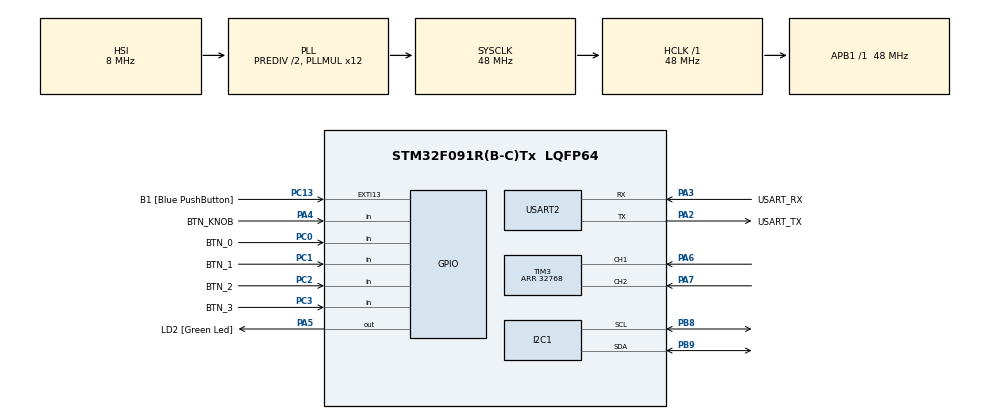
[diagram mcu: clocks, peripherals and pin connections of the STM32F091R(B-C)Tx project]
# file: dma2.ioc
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Dma.Request0=USART2_TX
Dma.Request1=USART2_RX
Dma.USART2_RX.1.Direction=DMA_PERIPH_TO_MEMORY
Dma.USART2_RX.1.Instance=DMA1_Channel3
Dma.USART2_RX.1.MemDataAlignment=DMA_MDATAALIGN_BYTE
Dma.USART2_RX.1.MemInc=DMA_MINC_ENABLE
Dma.USART2_RX.1.Mode=DMA_NORMAL
Dma.USART2_RX.1.PeriphDataAlignment=DMA_PDATAALIGN_BYTE
Dma.USART2_RX.1.PeriphInc=DMA_PINC_DISABLE
Dma.USART2_RX.1.Priority=DMA_PRIORITY_MEDIUM
Dma.USART2_TX.0.Direction=DMA_MEMORY_TO_PERIPH
Dma.USART2_TX.0.Instance=DMA1_Channel2
Dma.USART2_TX.0.MemDataAlignment=DMA_MDATAALIGN_BYTE
Dma.USART2_TX.0.MemInc=DMA_MINC_ENABLE
Dma.USART2_TX.0.Mode=DMA_NORMAL
Dma.USART2_TX.0.PeriphDataAlignment=DMA_PDATAALIGN_BYTE
Dma.USART2_TX.0.PeriphInc=DMA_PINC_DISABLE
Dma.USART2_TX.0.Priority=DMA_PRIORITY_LOW
I2C1.Timing=0x00201D2B
Mcu.Family=STM32F0
Mcu.Name=STM32F091R(B-C)Tx
Mcu.Package=LQFP64
NVIC.DMA1_Ch2_3_DMA2_Ch1_2_IRQn=true\:0\:0\:false\:false\:true\:false\:true\:true
NVIC.I2C1_IRQn=true\:0\:0\:false\:false\:true\:true\:true\:true
NVIC.USART2_IRQn=true\:0\:0\:false\:false\:true\:true\:true\:true
PA13.GPIO_Label=TMS
PA13.Mode=Serial_Wire
PA13.Signal=SYS_SWDIO
PA14.GPIO_Label=TCK
PA14.Mode=Serial_Wire
PA14.Signal=SYS_SWCLK
PA2.GPIO_Label=USART_TX
PA2.GPIO_Mode=GPIO_MODE_AF_PP
PA2.GPIO_PuPd=GPIO_NOPULL
PA2.GPIO_Speed=GPIO_SPEED_FREQ_LOW
PA2.Mode=Asynchronous
PA2.Signal=USART2_TX
PA3.GPIO_Label=USART_RX
PA3.GPIO_Mode=GPIO_MODE_AF_PP
PA3.GPIO_PuPd=GPIO_NOPULL
PA3.GPIO_Speed=GPIO_SPEED_FREQ_LOW
PA3.Mode=Asynchronous
PA3.Signal=USART2_RX
PA4.GPIO_Label=BTN_KNOB
PA4.GPIO_PuPd=GPIO_PULLUP
PA4.Signal=GPIO_Input
PA5.GPIO_Label=LD2 [Green Led]
PA5.GPIO_Mode=GPIO_MODE_OUTPUT_PP
PA5.GPIO_PuPd=GPIO_NOPULL
PA5.GPIO_Speed=GPIO_SPEED_FREQ_LOW
PA5.Signal=GPIO_Output
PA6.Signal=S_TIM3_CH1
PA7.Signal=S_TIM3_CH2
PB8.Mode=I2C
PB8.Signal=I2C1_SCL
PB9.Mode=I2C
PB9.Signal=I2C1_SDA
PC0.GPIO_Label=BTN_0
PC0.GPIO_PuPd=GPIO_PULLUP
PC0.Signal=GPIO_Input
PC1.GPIO_Label=BTN_1
PC1.GPIO_PuPd=GPIO_PULLUP
PC1.Signal=GPIO_Input
PC13.GPIO_Label=B1 [Blue PushButton]
PC13.GPIO_ModeDefaultEXTI=GPIO_MODE_IT_FALLING
PC13.Signal=GPXTI13
PC14OSC32_IN.Mode=LSE-External-Oscillator
PC14OSC32_IN.Signal=RCC_OSC32_IN
PC15OSC32_OUT.Mode=LSE-External-Oscillator
PC15OSC32_OUT.Signal=RCC_OSC32_OUT
PC2.GPIO_Label=BTN_2
PC2.GPIO_PuPd=GPIO_PULLUP
PC2.Signal=GPIO_Input
PC3.GPIO_Label=BTN_3
PC3.GPIO_PuPd=GPIO_PULLUP
PC3.Signal=GPIO_Input
PF0-OSC_IN.Mode=HSE-External-Clock-Source
PF0-OSC_IN.Signal=RCC_OSC_IN
PF1-OSC_OUT.Signal=RCC_OSC_OUT
ProjectManager.HeapSize=0x200
ProjectManager.StackSize=0x400
ProjectManager.TargetToolchain=STM32CubeIDE
RCC.AHBFreq_Value=48000000
RCC.APB1Freq_Value=48000000
RCC.APB1TimFreq_Value=48000000
RCC.FLatency-AdvancedSettings=FLASH_LATENCY_1
RCC.HCLKFreq_Value=48000000
RCC.PLLDivider=RCC_PREDIV_DIV2
RCC.PLLMUL=RCC_PLL_MUL12
RCC.PREFETCH_ENABLE-AdvancedSettings=1
RCC.SYSCLKFreq_VALUE=48000000
RCC.SYSCLKSource=RCC_SYSCLKSOURCE_PLLCLK
SH.S_TIM3_CH1.0=TIM3_CH1,Encoder_Interface
SH.S_TIM3_CH2.0=TIM3_CH2,Encoder_Interface
TIM3.EncoderMode=TIM_ENCODERMODE_TI12
TIM3.Period=32768
USART2.VirtualMode=VM_ASYNC
USART2.VirtualMode-Asynchronous=VM_ASYNC
board=NUCLEO-F091RC

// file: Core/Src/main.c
/* USER CODE BEGIN Header */
/**
  ******************************************************************************
  * @file           : main.c
  * @brief          : Main program body
  ******************************************************************************
  * @attention
  *
  * Copyright (c) 2025 STMicroelectronics.
  * All rights reserved.
  *
  * This software is licensed under terms that can be found in the LICENSE file
  * in the root directory of this software component.
  * If no LICENSE file comes with this software, it is provided AS-IS.
  *
  ******************************************************************************
  */
/* USER CODE END Header */
#include "main.h"

/* USER CODE BEGIN Includes */
#include "ssd1306.h"
#include <string.h>
#include <stdio.h>
/* USER CODE END Includes */

I2C_HandleTypeDef hi2c1;

TIM_HandleTypeDef htim3;

UART_HandleTypeDef huart2;
DMA_HandleTypeDef hdma_usart2_tx;
DMA_HandleTypeDef hdma_usart2_rx;

/* USER CODE BEGIN PV */
// UART RX buffer for 3-byte command frames from PC
// Frame format: [START=0x88, COMMAND, CHECKSUM]
uint8_t uart_rx_buffer[3];
/* USER CODE END PV */

void SystemClock_Config(void);
static void MX_GPIO_Init(void);
static void MX_DMA_Init(void);
static void MX_USART2_UART_Init(void);
static void MX_I2C1_Init(void);
static void MX_TIM3_Init(void);

/* USER CODE BEGIN 0 */
typedef struct {
    // Hardware configuration
    // ----------------------
    uint16_t pin;                 // GPIO pin number (e.g., GPIO_PIN_1)
    GPIO_TypeDef* port;           // GPIO port (e.g., GPIOA, GPIOB)

    // Protocol configuration
    // ----------------------
    uint8_t cmd_press;            // Command ID for button press (e.g., 0x40)

    // Runtime state
    // -------------
    uint32_t last_press_time;     // Timestamp of last press (for debouncing)
    uint8_t pressed;             // Current pressed state (for edge detection)

    // DMA buffer
    // ----------
    // CRITICAL: Each button MUST have its own buffer to prevent DMA race conditions
    uint8_t tx_buffer[4];         // Dedicated UART transmit buffer
} Button_t;

#define PROTO_START         0xAA
#define CMD_BTN_AP_TOGGLE   0x50
#define CMD_BTN_HDG_TOGGLE  0x51
#define CMD_BTN_VS_TOGGLE   0x52
#define CMD_BTN_ALT_TOGGLE  0x53

// PC -> STM32 commands (3-byte format: [START=0x88, COMMAND, CHECKSUM])
#define CMD_AP_ENGAGE       0x60  // Engage autopilot
#define CMD_AP_DISENGAGE    0x61  // Disengage autopilot
#define CMD_HDG_MODE_ON     0x62  // Activate HDG mode
#define CMD_HDG_MODE_OFF    0x63  // Deactivate HDG mode
#define CMD_ALT_MODE_ON     0x64  // Activate ALT mode
#define CMD_ALT_MODE_OFF    0x65  // Deactivate ALT mode
#define CMD_VS_MODE_ON      0x66  // Activate VS mode
#define CMD_VS_MODE_OFF     0x67  // Deactivate VS mode

// Encoder mode-specific commands
#define CMD_HDG_SET         0x11
#define CMD_ALT_SET         0x21
#define CMD_VS_SET          0x31

// Encoder modes
#define ENC_MODE_HDG        0x00
#define ENC_MODE_ALT        0x01
#define ENC_MODE_VS         0x02

// AP status bitfield (operand for CMD_SET_AP_STATUS)
// Bit 0: AP engaged (1=engaged, 0=disengaged)
// Bit 1: HDG mode active
// Bit 2: ALT mode active
// Bit 3: VS mode active
// Bits 4-7: Reserved
#define AP_STATUS_ENGAGED   (1 << 0)
#define AP_STATUS_HDG_ACTIVE (1 << 1)
#define AP_STATUS_ALT_ACTIVE (1 << 2)
#define AP_STATUS_VS_ACTIVE  (1 << 3)

#define COUNT_BUTTONS 4
#define BUTTON_DEBOUNCE_MS 200   // Button debounce time (ms)

static Button_t standalone_buttons[COUNT_BUTTONS] = {
    {BTN_0_Pin,  BTN_0_GPIO_Port, CMD_BTN_AP_TOGGLE,  0, 0, {0}},  // AP button (PC0)
    {BTN_1_Pin,  BTN_1_GPIO_Port, CMD_BTN_HDG_TOGGLE, 0, 0, {0}},  // HDG button (PC1)
    {BTN_2_Pin,  BTN_2_GPIO_Port, CMD_BTN_VS_TOGGLE,  0, 0, {0}},  // VS button (PC2)
    {BTN_3_Pin,  BTN_3_GPIO_Port, CMD_BTN_ALT_TOGGLE, 0, 0, {0}}   // ALT button (PC3)
};

// Rotary Encoder Structure
typedef struct {
    // Hardware configuration
    TIM_HandleTypeDef* htim;      // Timer handle for encoder
    GPIO_TypeDef* btn_port;       // Push button port
    uint16_t btn_pin;             // Push button pin

    // Encoder state
    uint8_t mode;                 // Current mode: 0=HDG, 1=ALT, 2=VS
    uint32_t last_tx_time;        // Last transmission time (for throttling)
    uint32_t last_btn_time;       // Last button press time (for debouncing)

    // DMA buffer for UART transmission
    uint8_t tx_buffer[4];         // Dedicated UART transmit buffer
} RotaryEncoder_t;

#define ENCODER_TX_THROTTLE_MS  50    // Minimum time between encoder transmissions (ms)
#define ENCODER_BTN_DEBOUNCE_MS 200   // Button debounce time (ms)
#define ENCODER_CENTER          16384 // Center position (Period/2 = 32768/2)
#define ENCODER_COUNTS_PER_DETENT 4   // TI12 mode gives 4 counts per mechanical click

static RotaryEncoder_t rotary_encoder = {
    .htim = &htim3,
    .btn_port = BTN_KNOB_GPIO_Port,
    .btn_pin = BTN_KNOB_Pin,
    .mode = ENC_MODE_HDG,         // Start in HDG mode
    .last_tx_time = 0,
    .last_btn_time = 0,
    .tx_buffer = {0}
};

// Autopilot status state
static uint8_t ap_status = 0;  // Bitfield: engaged + active modes

void SendButtonCommand(Button_t* btn, uint8_t cmd, uint8_t operand)
{
    uint8_t* txBuffer = btn->tx_buffer;

    txBuffer[0] = PROTO_START;
    txBuffer[1] = cmd;
    txBuffer[2] = operand;
    txBuffer[3] = PROTO_START ^ cmd ^ operand;

    HAL_UART_Transmit_DMA(&huart2, txBuffer, 4);  // ← DMA transfer
}

/**
 * @brief Send encoder command via UART
 * @param enc: Pointer to encoder structure
 * @param cmd: Command byte (e.g., CMD_HDG_SET, CMD_ALT_SET, CMD_VS_SET, CMD_ENC_MODE)
 * @param operand: Command operand (delta or mode)
 */
void SendEncoderCommand(RotaryEncoder_t* enc, uint8_t cmd, uint8_t operand)
{
    uint8_t* txBuffer = enc->tx_buffer;

    txBuffer[0] = PROTO_START;
    txBuffer[1] = cmd;
    txBuffer[2] = operand;
    txBuffer[3] = PROTO_START ^ cmd ^ operand;

    HAL_UART_Transmit_DMA(&huart2, txBuffer, 4);
    enc->last_tx_time = HAL_GetTick();  // Update throttle timer
}

/**
 * @brief Get mode name as string for display
 * @param mode: Encoder mode (0=HDG, 1=ALT, 2=VS)
 * @return: Mode name string
 */
const char* GetModeName(uint8_t mode)
{
    switch(mode) {
        case ENC_MODE_HDG: return "HDG";
        case ENC_MODE_ALT: return "ALT";
        case ENC_MODE_VS:  return "VS";
        default:           return "???";
    }
}

/**
 * @brief Cycle encoder mode
 * @param enc: Pointer to encoder structure
 * @note Display update is handled by Display_UpdateAPStatus which always shows encoder mode
 */
void CycleEncoderMode(RotaryEncoder_t* enc)
{
    // Cycle through modes: HDG -> ALT -> VS -> HDG
    enc->mode = (enc->mode + 1) % 3;

    // Update display to show new encoder mode
    Display_UpdateAPStatus(ap_status);
}

//void HAL_GPIO_EXTI_Callback(uint16_t GPIO_Pin)
//
//{
//
//  if (GPIO_Pin == BTN_0_Pin) {
//	  SendButtonCommand(&standalone_buttons[0], 0x40, 0x00);
//  }
//
//}

/**
  * @brief Update OLED display with received command information
  * @param command: Received command byte
  * @note This function is no longer used - AP status display handles all updates
  */
void Display_UpdateCommand(uint8_t command)
{
    // Function kept for compatibility but no longer updates display
    // Display is now managed by Display_UpdateAPStatus which shows encoder mode
    (void)command;  // Suppress unused parameter warning
}

/**
  * @brief Update OLED display with autopilot status (fixed-position layout)
  * @param status: AP status bitfield
  *
  * Display layout (always shown):
  * Line 0: "AP:ON " or "AP:OFF" (engagement status)
  * Line 1: "HDG|ALT|VS " (mode indicators, active modes shown, inactive as "---")
  * Line 2: (empty)
  * Line 3: "        ENC:HDG" (right-aligned encoder mode)
  *
  * Mode indicators show active state regardless of AP engagement:
  * - Active mode: "HDG", "ALT", or "VS "
  * - Inactive mode: "---"
  */
void Display_UpdateAPStatus(uint8_t status)
{
    SSD1306_Clear();

    // Line 0: "AP" indicator - show engagement status
    SSD1306_SetCursor(0, 0);
    if (status & AP_STATUS_ENGAGED) {
        SSD1306_Puts("AP:ON ");
    } else {
        SSD1306_Puts("AP:OFF");
    }

    // Line 1: Mode indicators at fixed positions (always shown)
    SSD1306_SetCursor(0, 1);

    // HDG indicator (positions 0-2)
    SSD1306_Puts((status & AP_STATUS_HDG_ACTIVE) ? "HDG" : "---");

    // Separator
    SSD1306_Puts("|");

    // ALT indicator (positions 4-6)
    SSD1306_Puts((status & AP_STATUS_ALT_ACTIVE) ? "ALT" : "---");

    // Separator
    SSD1306_Puts("|");

    // VS indicator (positions 8-10)
    SSD1306_Puts((status & AP_STATUS_VS_ACTIVE) ? "VS " : "-- ");

    // Line 3: Encoder mode (always shown, bottom right)
    // Display is 128px wide, 6px per char = ~21 chars
    // "ENC:HDG" = 7 chars, so start at position 14 to right-align
    SSD1306_SetCursor(84, 3);  // 84px = 14 chars * 6px
    SSD1306_Puts("ENC:");
    SSD1306_Puts(GetModeName(rotary_encoder.mode));

    SSD1306_UpdateScreen();
}

/* USER CODE END 0 */

int main(void)
{

  /* MCU Configuration--------------------------------------------------------*/

  /* Reset of all peripherals, Initializes the Flash interface and the Systick. */
  HAL_Init();

  /* Configure the system clock */
  SystemClock_Config();

  /* Initialize all configured peripherals */
  MX_GPIO_Init();
  MX_DMA_Init();
  MX_USART2_UART_Init();
  MX_I2C1_Init();
  MX_TIM3_Init();
  /* USER CODE BEGIN 2 */
  // Initialize SSD1306 OLED Display
  SSD1306_Init(&hi2c1);

  // Show initial display with encoder mode
  Display_UpdateAPStatus(ap_status);

  // Start DMA reception for 3-byte command frames from PC
  HAL_UART_Receive_DMA(&huart2, uart_rx_buffer, 3);

  // Start TIM3 in Encoder Mode
  HAL_TIM_Encoder_Start(&htim3, TIM_CHANNEL_ALL);

  // Set encoder to center position to establish reference point
  __HAL_TIM_SET_COUNTER(&htim3, ENCODER_CENTER);

  /* USER CODE END 2 */

  /* Infinite loop */
  while (1)
  {

    /* USER CODE BEGIN 3 */

	  for(int i =0; i< COUNT_BUTTONS; i++)
	  {
	   GPIO_PinState current_state = HAL_GPIO_ReadPin(standalone_buttons[i].port, standalone_buttons[i].pin);
	   uint8_t is_pressed = (current_state == GPIO_PIN_RESET);

	   // Detect falling edge (button press) with debouncing
	   if (is_pressed && !standalone_buttons[i].pressed)
	   {
	    uint32_t current_time = HAL_GetTick();
	    // Debounce: only process if enough time has passed since last press
	    if ((current_time - standalone_buttons[i].last_press_time) > BUTTON_DEBOUNCE_MS)
	    {
	  	  SendButtonCommand(&standalone_buttons[i], standalone_buttons[i].cmd_press, 0x00);
	  	  standalone_buttons[i].last_press_time = current_time;
	    }
	   }

	   // Update pressed state for edge detection
	   standalone_buttons[i].pressed = is_pressed;
	  }

	  // --- Rotary Encoder Handling ---

	  // Handle encoder button (mode toggle)
	  GPIO_PinState btn_knob_state = HAL_GPIO_ReadPin(rotary_encoder.btn_port, rotary_encoder.btn_pin);
	  if (btn_knob_state == GPIO_PIN_RESET)
	  {
		  uint32_t current_time = HAL_GetTick();
		  // Debounce: only process if enough time has passed since last press
		  if ((current_time - rotary_encoder.last_btn_time) > ENCODER_BTN_DEBOUNCE_MS)
		  {
			  CycleEncoderMode(&rotary_encoder);
			  rotary_encoder.last_btn_time = current_time;
		  }
	  }

	  // Handle encoder rotation (read delta and send command)
	  int32_t current_count = __HAL_TIM_GET_COUNTER(&htim3);
	  // Always calculate delta from center position to prevent drift
	  int32_t delta = current_count - ENCODER_CENTER;

	  // Calculate full mechanical detents (4 counts = 1 click)
	  // This filters out transitions between detent positions
	  int32_t detents = delta / ENCODER_COUNTS_PER_DETENT;

	  if (detents != 0)
	  {
		  uint32_t current_time = HAL_GetTick();
		  // Throttle: only send if enough time has passed since last transmission
		  if ((current_time - rotary_encoder.last_tx_time) >= ENCODER_TX_THROTTLE_MS)
		  {
			  // Clamp detents to int8_t range (-128 to +127)
			  if (detents > 127) detents = 127;
			  if (detents < -128) detents = -128;

			  // Select command based on current mode
			  uint8_t cmd = CMD_HDG_SET;  // Default
			  switch (rotary_encoder.mode)
			  {
				  case ENC_MODE_HDG:
					  cmd = CMD_HDG_SET;
					  break;
				  case ENC_MODE_ALT:
					  cmd = CMD_ALT_SET;
					  break;
				  case ENC_MODE_VS:
					  cmd = CMD_VS_SET;
					  break;
			  }

			  // Send encoder delta command (number of clicks)
			  SendEncoderCommand(&rotary_encoder, cmd, (uint8_t)((int8_t)detents));

			  // Reset counter to center + remainder to preserve partial clicks
			  // Example: if delta=7, we send 1 click, remainder is 3 counts
			  int32_t remainder = delta % ENCODER_COUNTS_PER_DETENT;
			  __HAL_TIM_SET_COUNTER(&htim3, ENCODER_CENTER + remainder);
		  }
	  }

//	  GPIO_PinState btn0_state = HAL_GPIO_ReadPin(BTN_0_GPIO_Port, BTN_0_Pin);
//	  if(btn0_state == GPIO_PIN_RESET)
//	  {
//		  SendButtonCommand(&standalone_buttons[0], 0x40, 0x00);
//	  }
//
//	  GPIO_PinState btn1_state = HAL_GPIO_ReadPin(BTN_1_GPIO_Port, BTN_1_Pin);
//	  if(btn1_state == GPIO_PIN_RESET)
//	  {
//		  SendButtonCommand(&standalone_buttons[1], 0x41, 0x00);
//	  }
  }
  /* USER CODE END 3 */
}

void SystemClock_Config(void)
{
  RCC_OscInitTypeDef RCC_OscInitStruct = {0};
  RCC_ClkInitTypeDef RCC_ClkInitStruct = {0};
  RCC_PeriphCLKInitTypeDef PeriphClkInit = {0};

  /** Initializes the RCC Oscillators according to the specified parameters
  * in the RCC_OscInitTypeDef structure.
  */
  RCC_OscInitStruct.OscillatorType = RCC_OSCILLATORTYPE_HSI;
  RCC_OscInitStruct.HSIState = RCC_HSI_ON;
  RCC_OscInitStruct.HSICalibrationValue = RCC_HSICALIBRATION_DEFAULT;
  RCC_OscInitStruct.PLL.PLLState = RCC_PLL_ON;
  RCC_OscInitStruct.PLL.PLLSource = RCC_PLLSOURCE_HSI;
  RCC_OscInitStruct.PLL.PLLMUL = RCC_PLL_MUL12;
  RCC_OscInitStruct.PLL.PREDIV = RCC_PREDIV_DIV2;
  if (HAL_RCC_OscConfig(&RCC_OscInitStruct) != HAL_OK)
  {
    Error_Handler();
  }

  /** Initializes the CPU, AHB and APB buses clocks
  */
  RCC_ClkInitStruct.ClockType = RCC_CLOCKTYPE_HCLK|RCC_CLOCKTYPE_SYSCLK
                              |RCC_CLOCKTYPE_PCLK1;
  RCC_ClkInitStruct.SYSCLKSource = RCC_SYSCLKSOURCE_PLLCLK;
  RCC_ClkInitStruct.AHBCLKDivider = RCC_SYSCLK_DIV1;
  RCC_ClkInitStruct.APB1CLKDivider = RCC_HCLK_DIV1;

  if (HAL_RCC_ClockConfig(&RCC_ClkInitStruct, FLASH_LATENCY_1) != HAL_OK)
  {
    Error_Handler();
  }
  PeriphClkInit.PeriphClockSelection = RCC_PERIPHCLK_USART2|RCC_PERIPHCLK_I2C1;
  PeriphClkInit.Usart2ClockSelection = RCC_USART2CLKSOURCE_PCLK1;
  PeriphClkInit.I2c1ClockSelection = RCC_I2C1CLKSOURCE_HSI;
  if (HAL_RCCEx_PeriphCLKConfig(&PeriphClkInit) != HAL_OK)
  {
    Error_Handler();
  }
}

static void MX_I2C1_Init(void)
{

  hi2c1.Instance = I2C1;
  hi2c1.Init.Timing = 0x00201D2B;
  hi2c1.Init.OwnAddress1 = 0;
  hi2c1.Init.AddressingMode = I2C_ADDRESSINGMODE_7BIT;
  hi2c1.Init.DualAddressMode = I2C_DUALADDRESS_DISABLE;
  hi2c1.Init.OwnAddress2 = 0;
  hi2c1.Init.OwnAddress2Masks = I2C_OA2_NOMASK;
  hi2c1.Init.GeneralCallMode = I2C_GENERALCALL_DISABLE;
  hi2c1.Init.NoStretchMode = I2C_NOSTRETCH_DISABLE;
  if (HAL_I2C_Init(&hi2c1) != HAL_OK)
  {
    Error_Handler();
  }

  /** Configure Analogue filter
  */
  if (HAL_I2CEx_ConfigAnalogFilter(&hi2c1, I2C_ANALOGFILTER_ENABLE) != HAL_OK)
  {
    Error_Handler();
  }

  /** Configure Digital filter
  */
  if (HAL_I2CEx_ConfigDigitalFilter(&hi2c1, 0) != HAL_OK)
  {
    Error_Handler();
  }

}

static void MX_TIM3_Init(void)
{

  TIM_Encoder_InitTypeDef sConfig = {0};
  TIM_MasterConfigTypeDef sMasterConfig = {0};

  htim3.Instance = TIM3;
  htim3.Init.Prescaler = 0;
  htim3.Init.CounterMode = TIM_COUNTERMODE_UP;
  htim3.Init.Period = 32768;
  htim3.Init.ClockDivision = TIM_CLOCKDIVISION_DIV1;
  htim3.Init.AutoReloadPreload = TIM_AUTORELOAD_PRELOAD_DISABLE;
  sConfig.EncoderMode = TIM_ENCODERMODE_TI12;
  sConfig.IC1Polarity = TIM_ICPOLARITY_RISING;
  sConfig.IC1Selection = TIM_ICSELECTION_DIRECTTI;
  sConfig.IC1Prescaler = TIM_ICPSC_DIV1;
  sConfig.IC1Filter = 0;
  sConfig.IC2Polarity = TIM_ICPOLARITY_RISING;
  sConfig.IC2Selection = TIM_ICSELECTION_DIRECTTI;
  sConfig.IC2Prescaler = TIM_ICPSC_DIV1;
  sConfig.IC2Filter = 0;
  if (HAL_TIM_Encoder_Init(&htim3, &sConfig) != HAL_OK)
  {
    Error_Handler();
  }
  sMasterConfig.MasterOutputTrigger = TIM_TRGO_RESET;
  sMasterConfig.MasterSlaveMode = TIM_MASTERSLAVEMODE_DISABLE;
  if (HAL_TIMEx_MasterConfigSynchronization(&htim3, &sMasterConfig) != HAL_OK)
  {
    Error_Handler();
  }

}

static void MX_USART2_UART_Init(void)
{

  huart2.Instance = USART2;
  huart2.Init.BaudRate = 115200;
  huart2.Init.WordLength = UART_WORDLENGTH_8B;
  huart2.Init.StopBits = UART_STOPBITS_1;
  huart2.Init.Parity = UART_PARITY_NONE;
  huart2.Init.Mode = UART_MODE_TX_RX;
  huart2.Init.HwFlowCtl = UART_HWCONTROL_NONE;
  huart2.Init.OverSampling = UART_OVERSAMPLING_16;
  huart2.Init.OneBitSampling = UART_ONE_BIT_SAMPLE_DISABLE;
  huart2.AdvancedInit.AdvFeatureInit = UART_ADVFEATURE_NO_INIT;
  if (HAL_UART_Init(&huart2) != HAL_OK)
  {
    Error_Handler();
  }

}

static void MX_DMA_Init(void)
{

  /* DMA controller clock enable */
  __HAL_RCC_DMA1_CLK_ENABLE();

  /* DMA interrupt init */
  /* DMA1_Ch2_3_DMA2_Ch1_2_IRQn interrupt configuration */
  HAL_NVIC_SetPriority(DMA1_Ch2_3_DMA2_Ch1_2_IRQn, 0, 0);
  HAL_NVIC_EnableIRQ(DMA1_Ch2_3_DMA2_Ch1_2_IRQn);

}

static void MX_GPIO_Init(void)
{
  GPIO_InitTypeDef GPIO_InitStruct = {0};

  /* GPIO Ports Clock Enable */
  __HAL_RCC_GPIOC_CLK_ENABLE();
  __HAL_RCC_GPIOF_CLK_ENABLE();
  __HAL_RCC_GPIOA_CLK_ENABLE();
  __HAL_RCC_GPIOB_CLK_ENABLE();

  /*Configure GPIO pin Output Level */
  HAL_GPIO_WritePin(LD2_GPIO_Port, LD2_Pin, GPIO_PIN_RESET);

  /*Configure GPIO pin : B1_Pin */
  GPIO_InitStruct.Pin = B1_Pin;
  GPIO_InitStruct.Mode = GPIO_MODE_IT_FALLING;
  GPIO_InitStruct.Pull = GPIO_NOPULL;
  HAL_GPIO_Init(B1_GPIO_Port, &GPIO_InitStruct);

  /*Configure GPIO pins : BTN_0_Pin BTN_1_Pin BTN_2_Pin BTN_3_Pin */
  GPIO_InitStruct.Pin = BTN_0_Pin|BTN_1_Pin|BTN_2_Pin|BTN_3_Pin;
  GPIO_InitStruct.Mode = GPIO_MODE_INPUT;
  GPIO_InitStruct.Pull = GPIO_PULLUP;
  HAL_GPIO_Init(GPIOC, &GPIO_InitStruct);

  /*Configure GPIO pin : BTN_KNOB_Pin */
  GPIO_InitStruct.Pin = BTN_KNOB_Pin;
  GPIO_InitStruct.Mode = GPIO_MODE_INPUT;
  GPIO_InitStruct.Pull = GPIO_PULLUP;
  HAL_GPIO_Init(BTN_KNOB_GPIO_Port, &GPIO_InitStruct);

  /*Configure GPIO pin : LD2_Pin */
  GPIO_InitStruct.Pin = LD2_Pin;
  GPIO_InitStruct.Mode = GPIO_MODE_OUTPUT_PP;
  GPIO_InitStruct.Pull = GPIO_NOPULL;
  GPIO_InitStruct.Speed = GPIO_SPEED_FREQ_LOW;
  HAL_GPIO_Init(LD2_GPIO_Port, &GPIO_InitStruct);

}

/* USER CODE BEGIN 4 */
/**
 * @brief UART RX Complete Callback
 * @note  Called when DMA has received a complete 3-byte frame
 *        Frame format: [START=0x88, COMMAND, CHECKSUM]
 *        Commands: 0x10=LED ON, 0x11=LED OFF
 */
void HAL_UART_RxCpltCallback(UART_HandleTypeDef *huart)
{
  if (huart->Instance == USART2)
  {
    // Extract frame bytes
    uint8_t start = uart_rx_buffer[0];
    uint8_t command = uart_rx_buffer[1];
    uint8_t checksum = uart_rx_buffer[2];

    // Validate frame: check START byte and checksum
    if (start == 0x88 && checksum == (0x88 ^ command))
    {
      // Process valid commands
        if (command == 0x10)
        {
          // Command 0x10: Turn LED ON
          HAL_GPIO_WritePin(LD2_GPIO_Port, LD2_Pin, GPIO_PIN_SET);
        }
        else if (command == 0x11)
        {
          // Command 0x11: Turn LED OFF
          HAL_GPIO_WritePin(LD2_GPIO_Port, LD2_Pin, GPIO_PIN_RESET);
        }
        else if (command == CMD_AP_ENGAGE)
        {
          // Command 0x60: Engage autopilot
          ap_status |= AP_STATUS_ENGAGED;
          Display_UpdateAPStatus(ap_status);
        }
        else if (command == CMD_AP_DISENGAGE)
        {
          // Command 0x61: Disengage autopilot (clears all modes too)
          ap_status = 0;
          Display_UpdateAPStatus(ap_status);
        }
        else if (command == CMD_HDG_MODE_ON)
        {
          // Command 0x62: Activate HDG mode
          ap_status |= AP_STATUS_HDG_ACTIVE;
          Display_UpdateAPStatus(ap_status);
        }
        else if (command == CMD_HDG_MODE_OFF)
        {
          // Command 0x63: Deactivate HDG mode
          ap_status &= ~AP_STATUS_HDG_ACTIVE;
          Display_UpdateAPStatus(ap_status);
        }
        else if (command == CMD_ALT_MODE_ON)
        {
          // Command 0x64: Activate ALT mode
          ap_status |= AP_STATUS_ALT_ACTIVE;
          Display_UpdateAPStatus(ap_status);
        }
        else if (command == CMD_ALT_MODE_OFF)
        {
          // Command 0x65: Deactivate ALT mode
          ap_status &= ~AP_STATUS_ALT_ACTIVE;
          Display_UpdateAPStatus(ap_status);
        }
        else if (command == CMD_VS_MODE_ON)
        {
          // Command 0x66: Activate VS mode
          ap_status |= AP_STATUS_VS_ACTIVE;
          Display_UpdateAPStatus(ap_status);
        }
        else if (command == CMD_VS_MODE_OFF)
        {
          // Command 0x67: Deactivate VS mode
          ap_status &= ~AP_STATUS_VS_ACTIVE;
          Display_UpdateAPStatus(ap_status);
        }
        // Unknown commands are silently ignored
    }
    // Invalid frames (wrong START or checksum) are silently ignored

    // Restart DMA reception for next frame
    HAL_UART_Receive_DMA(&huart2, uart_rx_buffer, 3);
  }
}
/* USER CODE END 4 */

void Error_Handler(void)
{
  __disable_irq();
  while (1)
  {
  }
}
